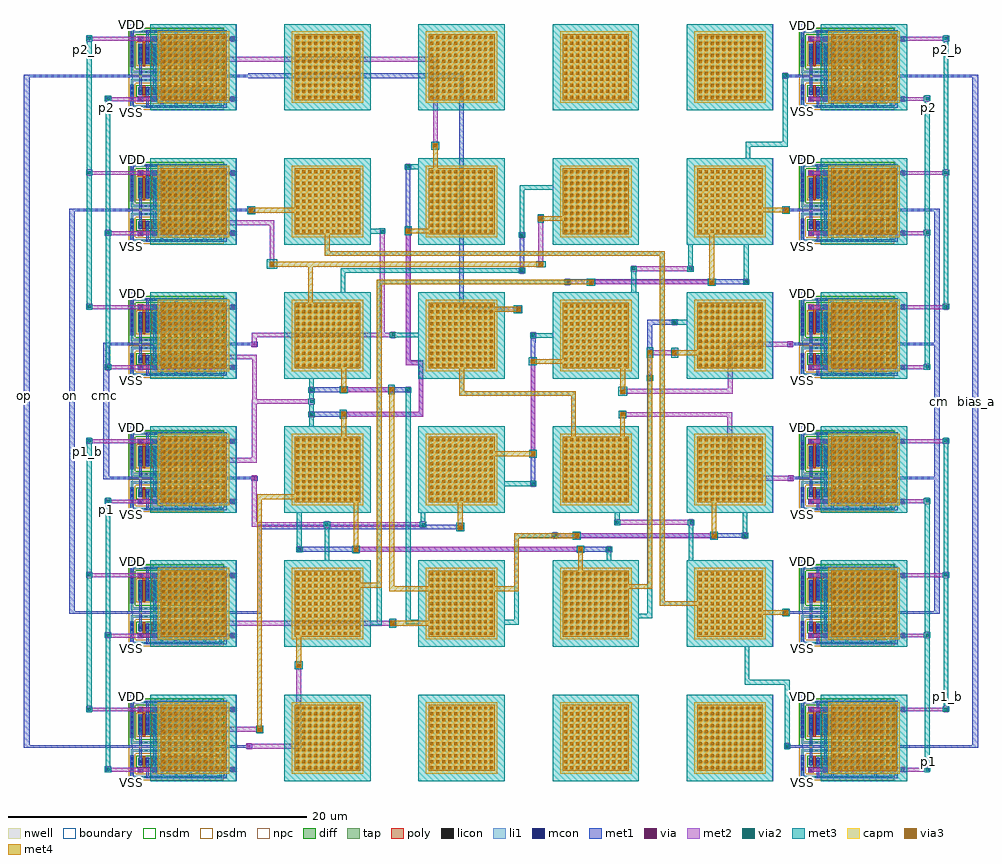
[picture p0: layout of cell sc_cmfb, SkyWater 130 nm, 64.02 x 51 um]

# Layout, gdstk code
from math import pi, radians
import gdstk
lib = gdstk.Library(unit=1e-6, precision=1e-09)
def R(c, l, rs):  # rectangles x0, y0, x1, y1
    for r in rs: c.add(gdstk.rectangle(r[:2], r[2:], *l))
def A(c, l, x, y, w, h, nx, ny, dx, dy):  # array of equal rectangles
    R(c, l, [(x+i*dx, y+j*dy, x+i*dx+w, y+j*dy+h) for i in range(nx) for j in range(ny)])
nwell = (64, 20)
diff = (65, 20)
tap = (65, 44)
poly = (66, 20)
licon = (66, 44)
li1 = (67, 20)
mcon = (67, 44)
met1 = (68, 20)
via = (68, 44)
met2 = (69, 20)
via2 = (69, 44)
met3 = (70, 20)
via3 = (70, 44)
met4 = (71, 20)
capm = (89, 44)
nsdm = (93, 44)
psdm = (94, 20)
npc = (95, 20)
boundary = (235, 4)

sky130_fd_pr__pfet_01v8_ = lib.new_cell('sky130_fd_pr__pfet_01v8_UNG2NQ')
R(sky130_fd_pr__pfet_01v8_, nwell, [(-3.23,-1.78,3.24,1.47)])
R(sky130_fd_pr__pfet_01v8_, diff, [(-2.54,-0.68,2.55,0.68)])
R(sky130_fd_pr__pfet_01v8_, tap, [(-3.05,-1.6,3.06,-1.43), (-3.05,-1.43,-2.88,1.12), (2.89,-1.43,3.06,1.12), (-3.05,1.12,3.06,1.29)])
A(sky130_fd_pr__pfet_01v8_, poly, -2.23, -0.84, 0.15, 1.65, 10, 1, 0.48, 0)
R(sky130_fd_pr__pfet_01v8_, poly, [(-2.56,-1.17,2.57,-0.84)])
A(sky130_fd_pr__pfet_01v8_, licon, -2.46, -1.6, 0.17, 0.17, 15, 2, 0.34, 2.72)
A(sky130_fd_pr__pfet_01v8_, licon, -3.05, -1.09, 0.17, 0.17, 1, 6, 0, 0.34)
A(sky130_fd_pr__pfet_01v8_, licon, -2.48, -1.09, 0.17, 0.17, 6, 1, 0.96, 0)
A(sky130_fd_pr__pfet_01v8_, licon, 2.89, -1.09, 0.17, 0.17, 1, 6, 0, 0.34)
A(sky130_fd_pr__pfet_01v8_, licon, -2.48, -0.595, 0.17, 0.17, 11, 4, 0.48, 0.34)
A(sky130_fd_pr__pfet_01v8_, li1, -2.56, -1.09, 0.33, 0.17, 6, 1, 0.96, 0)
A(sky130_fd_pr__pfet_01v8_, li1, -2.48, -0.7, 0.17, 1.4, 11, 1, 0.48, 0)
R(sky130_fd_pr__pfet_01v8_, li1, [(-3.05,-1.6,3.06,-1.43), (-3.05,-1.43,-2.88,1.12), (2.89,-1.43,3.06,1.12), (-3.05,1.12,3.06,1.29)])
A(sky130_fd_pr__pfet_01v8_, mcon, -2.48, -1.09, 0.17, 0.17, 6, 1, 0.96, 0)
A(sky130_fd_pr__pfet_01v8_, mcon, -2.48, -0.445, 0.17, 0.17, 11, 3, 0.48, 0.36)
A(sky130_fd_pr__pfet_01v8_, met1, -2.56, -1.13, 0.33, 0.25, 6, 1, 0.96, 0)
A(sky130_fd_pr__pfet_01v8_, met1, -2.51, -0.68, 0.23, 1.36, 11, 1, 0.48, 0)
R(sky130_fd_pr__pfet_01v8_, nsdm, [(-3.175,-1.725,3.185,-1.305), (-3.175,-1.305,-2.755,0.995), (2.765,-1.305,3.185,0.995), (-3.175,0.995,3.185,1.415)])
R(sky130_fd_pr__pfet_01v8_, psdm, [(-2.665,-0.805,2.675,0.805)])
A(sky130_fd_pr__pfet_01v8_, npc, -2.58, -1.19, 0.37, 0.37, 6, 1, 0.96, 0)
R(sky130_fd_pr__pfet_01v8_, boundary, [(-2.97,-1.51,2.97,1.51)])

sky130_fd_pr__nfet_01v8_ = lib.new_cell('sky130_fd_pr__nfet_01v8_6J4AMR')
R(sky130_fd_pr__nfet_01v8_, diff, [(-2.54,-0.26,2.55,0.26)])
R(sky130_fd_pr__nfet_01v8_, tap, [(-3.05,-1.13,3.06,-0.96), (-3.05,-0.96,-2.88,0.65), (2.89,-0.96,3.06,0.65), (-3.05,0.65,3.06,0.82)])
A(sky130_fd_pr__nfet_01v8_, poly, -2.23, -0.37, 0.15, 0.76, 10, 1, 0.48, 0)
R(sky130_fd_pr__nfet_01v8_, poly, [(-2.56,-0.7,2.57,-0.37)])
A(sky130_fd_pr__nfet_01v8_, licon, -2.46, -1.13, 0.17, 0.17, 15, 2, 0.34, 1.78)
A(sky130_fd_pr__nfet_01v8_, licon, -2.48, -0.64, 0.17, 0.17, 6, 1, 0.96, 0)
A(sky130_fd_pr__nfet_01v8_, licon, -3.05, -0.58, 0.17, 0.17, 1, 3, 0, 0.34)
A(sky130_fd_pr__nfet_01v8_, licon, 2.89, -0.58, 0.17, 0.17, 1, 3, 0, 0.34)
A(sky130_fd_pr__nfet_01v8_, licon, -2.48, -0.085, 0.17, 0.17, 11, 1, 0.48, 0)
A(sky130_fd_pr__nfet_01v8_, li1, -2.56, -0.64, 0.33, 0.17, 6, 1, 0.96, 0)
A(sky130_fd_pr__nfet_01v8_, li1, -2.48, -0.28, 0.17, 0.56, 11, 1, 0.48, 0)
R(sky130_fd_pr__nfet_01v8_, li1, [(-3.05,-1.13,3.06,-0.96), (-3.05,-0.96,-2.88,0.65), (2.89,-0.96,3.06,0.65), (-3.05,0.65,3.06,0.82)])
A(sky130_fd_pr__nfet_01v8_, mcon, -2.48, -0.64, 0.17, 0.17, 6, 1, 0.96, 0)
A(sky130_fd_pr__nfet_01v8_, mcon, -2.48, -0.085, 0.17, 0.17, 11, 1, 0.48, 0)
A(sky130_fd_pr__nfet_01v8_, met1, -2.56, -0.7, 0.33, 0.3, 6, 1, 0.96, 0)
A(sky130_fd_pr__nfet_01v8_, met1, -2.51, -0.26, 0.23, 0.52, 11, 1, 0.48, 0)
R(sky130_fd_pr__nfet_01v8_, nsdm, [(-2.665,-0.385,2.675,0.385)])
R(sky130_fd_pr__nfet_01v8_, psdm, [(-3.175,-1.255,3.185,-0.835), (-3.175,-0.835,-2.755,0.525), (2.765,-0.835,3.185,0.525), (-3.175,0.525,3.185,0.945)])
A(sky130_fd_pr__nfet_01v8_, npc, -2.58, -0.74, 0.37, 0.37, 6, 1, 0.96, 0)
R(sky130_fd_pr__nfet_01v8_, boundary, [(-2.97,-1.05,2.97,1.05)])

transmission_gate = lib.new_cell('transmission_gate')
R(transmission_gate, li1, [(5.855,0.405,6.025,1.405), (5.855,2.725,6.025,4.655)])
A(transmission_gate, mcon, 5.855, 0.46, 0.17, 0.17, 1, 3, 0, 0.36)
A(transmission_gate, mcon, 5.855, 2.885, 0.17, 0.17, 1, 5, 0, 0.36)
A(transmission_gate, met1, 0.965, 0.095, 0.17, 0.805, 5, 2, 0.96, 4.065)
A(transmission_gate, met1, 1.345, 0.38, 0.36, 0.26, 3, 1, 0.96, 0)
A(transmission_gate, met1, 0.485, 1.265, 0.17, 0.715, 6, 1, 0.96, 0)
A(transmission_gate, met1, 0.485, 2.15, 0.17, 0.89, 6, 1, 0.96, 0)
A(transmission_gate, met1, 2.31, 4.415, 0.36, 0.26, 4, 1, 0.96, 0)
R(transmission_gate, met1, [(5.825,-0.255,6.055,1.465), (-0.435,-0.075,4.975,0.095), (-0.435,0.095,-0.265,1.98), (4.23,0.375,4.59,0.635), (5.19,0.375,5.55,0.635), (-1.08,0.38,-0.635,0.64), (0.39,0.38,0.75,0.64), (-1.08,1.98,-0.265,2.15), (0.485,1.98,6.415,2.15), (-0.435,2.15,-0.265,4.965), (5.825,2.665,6.055,5.315), (-1.08,4.415,-0.635,4.675), (0.39,4.415,0.75,4.675), (1.355,4.415,1.715,4.675), (-0.435,4.965,4.975,5.135)])
A(transmission_gate, via, 1.45, 0.435, 0.15, 0.15, 3, 1, 0.96, 0)
A(transmission_gate, via, 2.415, 4.47, 0.15, 0.15, 4, 1, 0.96, 0)
R(transmission_gate, via, [(4.335,0.43,4.485,0.58), (5.295,0.43,5.445,0.58), (-0.89,0.435,-0.74,0.585), (0.495,0.435,0.645,0.585), (-0.89,4.47,-0.74,4.62), (0.495,4.47,0.645,4.62), (1.46,4.47,1.61,4.62)])
A(transmission_gate, met2, 1.395, 0.33, 0.26, 0.05, 3, 2, 0.96, 0.31)
A(transmission_gate, met2, 2.36, 4.365, 0.26, 0.05, 4, 2, 0.96, 0.31)
R(transmission_gate, met2, [(4.28,0.325,4.54,0.38), (5.24,0.325,5.5,0.38), (-0.945,0.33,-0.685,0.38), (0.44,0.33,0.7,0.38), (-0.945,0.38,5.535,0.64), (-0.945,0.64,-0.685,0.69), (0.44,0.64,0.7,0.69), (4.28,0.64,4.54,0.685), (5.24,0.64,5.5,0.685), (-0.945,4.365,-0.685,4.415), (0.44,4.365,0.7,4.415), (1.405,4.365,1.665,4.415), (-0.945,4.415,5.535,4.675), (-0.945,4.675,-0.685,4.725), (0.44,4.675,0.7,4.725), (1.405,4.675,1.665,4.725)])
transmission_gate.add(gdstk.Reference(sky130_fd_pr__pfet_01v8_, (2.975,3.535), rotation=pi))
transmission_gate.add(gdstk.Reference(sky130_fd_pr__nfet_01v8_, (2.965,1.055)))
transmission_gate.add(gdstk.Label('en_b', (-1.055,4.545), layer=68, texttype=5))
transmission_gate.add(gdstk.Label('in', (-1.06,2.065), layer=68, texttype=5))
transmission_gate.add(gdstk.Label('en', (-1.06,0.51), layer=68, texttype=5))
transmission_gate.add(gdstk.Label('out', (6.395,2.06), layer=68, texttype=5))
transmission_gate.add(gdstk.Label('VDD', (5.94,5.29), layer=68, texttype=5))
transmission_gate.add(gdstk.Label('VSS', (5.94,-0.24), layer=68, texttype=5))

unit_cap_mim_m3m4 = lib.new_cell('unit_cap_mim_m3m4')
R(unit_cap_mim_m3m4, met3, [(-3.15,-2.9,2.64,2.9)])
A(unit_cap_mim_m3m4, via3, -2.35, -2.1, 0.2, 0.2, 11, 11, 0.4, 0.4)
R(unit_cap_mim_m3m4, met4, [(-2.455,-2.205,1.955,2.205)])
R(unit_cap_mim_m3m4, capm, [(-2.65,-2.4,2.15,2.4)])
R(unit_cap_mim_m3m4, boundary, [(-3.15,-2.9,2.65,2.9)])

sc_cmfb = lib.new_cell('sc_cmfb')
A(sc_cmfb, met1, -10.34, -9.2, 0.23, 0.86, 1, 5, 0, 9)
A(sc_cmfb, met1, 34.66, -9.2, 0.23, 0.86, 1, 6, 0, 9)
A(sc_cmfb, met1, -10.34, -4.09, 0.23, 0.89, 1, 5, 0, 9)
A(sc_cmfb, met1, 34.66, -4.09, 0.23, 0.89, 1, 6, 0, 9)
A(sc_cmfb, met1, 43.62, 2.405, 0.375, 8.83, 1, 3, 0, 9)
R(sc_cmfb, met1, [(-5.145,-6.84,-4.725,-6.52), (-2.56,-6.825,-2.14,-6.765), (33.54,-6.815,33.96,-6.765), (-17.47,-6.765,-10.53,-6.595), (-3.6,-6.765,-2.14,-6.595), (33.54,-6.765,34.47,-6.595), (41.355,-6.765,46.55,-6.595), (-17.47,-6.595,-17.095,38.235), (-2.56,-6.595,-2.14,-6.505), (33.54,-6.595,33.96,-6.495), (46.175,-6.595,46.55,38.235), (33.45,2.145,33.87,2.235), (-5.15,2.165,-4.73,2.485), (-1.82,2.23,-1.5,2.235), (-14.43,2.235,-10.53,2.405), (-3.645,2.235,-1.5,2.405), (33.45,2.235,34.475,2.405), (41.385,2.235,43.995,2.405), (-14.43,2.405,-14.055,29.235), (-1.82,2.405,-1.5,7.88), (33.45,2.405,33.87,2.465), (0.8,6.385,22,6.705), (17.96,7.31,31.13,7.63), (-1.82,7.88,12.02,8.2), (16.49,10.795,16.91,11.115), (16.54,11.115,16.855,20.425), (-2.22,11.135,-1.8,11.235), (-5.185,11.155,-4.765,11.475), (33.77,11.165,34.19,11.235), (-12.14,11.235,-10.53,11.405), (-3.595,11.235,-1.8,11.405), (33.77,11.235,34.47,11.405), (41.375,11.235,43.995,11.405), (-12.14,11.405,-11.765,20.235), (-2.22,11.405,-1.8,11.455), (33.77,11.405,34.19,11.485), (1.615,15.45,9.33,15.77), (9.01,15.77,9.33,18.91), (1.615,17.095,8.525,17.415), (24.32,17.89,24.74,18.21), (24.37,18.21,24.69,21.63), (8.14,18.91,9.33,19.23), (8.14,19.23,8.46,32.06), (-2.22,20.15,-1.8,20.235), (-5.17,20.155,-4.75,20.475), (33.745,20.155,34.165,20.235), (-12.14,20.235,-10.5,20.405), (-3.595,20.235,-1.8,20.405), (33.745,20.235,34.47,20.405), (41.355,20.235,43.995,20.405), (-2.22,20.405,-1.8,20.47), (33.745,20.405,34.165,20.475), (16.54,20.425,16.86,20.74), (16.49,20.74,16.91,21.06), (24.37,21.63,26.405,21.95), (11.735,22.495,15.9,22.815), (11.735,22.815,12.055,38.165), (18.79,24.32,19.21,24.34), (18.79,24.34,31.2,24.64), (19.155,24.64,31.2,24.66), (15.735,25.1,16.155,25.42), (15.785,25.42,16.105,27.47), (15.735,27.47,16.155,27.79), (-2.435,29.145,-2.015,29.235), (-5.19,29.155,-4.77,29.475), (33.47,29.155,33.89,29.235), (-14.43,29.235,-10.45,29.405), (-3.695,29.235,-2.015,29.405), (33.47,29.235,34.47,29.405), (41.405,29.235,43.995,29.405), (-2.435,29.405,-2.015,29.465), (33.47,29.405,33.89,29.475), (8.09,32.06,8.51,32.38), (-10.34,35.8,-10.11,36.23), (-5.16,38.155,-4.74,38.475), (-2.425,38.165,12.055,38.235), (33.405,38.165,33.825,38.235), (-17.47,38.235,-10.53,38.405), (-3.615,38.235,12.055,38.405), (33.405,38.235,34.495,38.405), (41.325,38.235,46.55,38.405), (-2.425,38.405,12.055,38.485), (33.405,38.405,33.825,38.485), (-10.34,41.34,-10.11,41.8)])
R(sc_cmfb, via, [(-5.01,-6.755,-4.86,-6.605), (-2.425,-6.74,-2.275,-6.59), (33.675,-6.73,33.825,-6.58), (33.585,2.23,33.735,2.38), (-5.015,2.25,-4.865,2.4), (0.935,6.47,1.085,6.62), (21.715,6.47,21.865,6.62), (18.095,7.395,18.245,7.545), (30.845,7.395,30.995,7.545), (11.735,7.965,11.885,8.115), (16.625,10.88,16.775,11.03), (-2.085,11.22,-1.935,11.37), (-5.05,11.24,-4.9,11.39), (33.905,11.25,34.055,11.4), (1.75,15.535,1.9,15.685), (1.75,17.18,1.9,17.33), (8.24,17.18,8.39,17.33), (24.455,17.975,24.605,18.125), (-2.085,20.235,-1.935,20.385), (-5.035,20.24,-4.885,20.39), (33.88,20.24,34.03,20.39), (16.625,20.825,16.775,20.975), (26.12,21.715,26.27,21.865), (15.615,22.58,15.765,22.73), (18.925,24.405,19.075,24.555), (30.915,24.425,31.065,24.575), (15.87,25.185,16.02,25.335), (15.87,27.555,16.02,27.705), (-2.3,29.23,-2.15,29.38), (-5.055,29.24,-4.905,29.39), (33.605,29.24,33.755,29.39), (8.225,32.145,8.375,32.295), (-5.025,38.24,-4.875,38.39), (33.54,38.25,33.69,38.4)])
A(sc_cmfb, met2, -11.99, -8.42, 0.32, 0.05, 1, 6, 0, 9)
A(sc_cmfb, met2, 42.975, -8.415, 0.32, 0.05, 1, 6, 0, 9)
A(sc_cmfb, met2, -11.99, -8.11, 0.32, 0.11, 1, 6, 0, 9)
A(sc_cmfb, met2, 42.975, -8.105, 0.32, 0.11, 1, 6, 0, 9)
A(sc_cmfb, met2, -13.255, -4.38, 0.32, 0.05, 1, 6, 0, 9)
A(sc_cmfb, met2, 44.24, -4.38, 0.32, 0.05, 1, 6, 0, 9)
A(sc_cmfb, met2, -13.255, -4.07, 0.32, 0.11, 1, 6, 0, 9)
A(sc_cmfb, met2, 44.24, -4.07, 0.32, 0.11, 1, 6, 0, 9)
R(sc_cmfb, met2, [(-11.99,-8.37,-9.565,-8.11), (41.5,-8.365,43.295,-8.105), (-5.095,-6.89,-4.775,-5.69), (-2.51,-6.875,-2.19,-6.825), (33.59,-6.865,33.91,-6.445), (-2.51,-6.825,1.12,-6.505), (-2.51,-6.505,-2.19,-6.455), (0.8,-6.505,1.12,-1.04), (-1.82,-5.74,-1.5,-5.69), (-5.095,-5.69,-1.5,-5.37), (-1.82,-5.37,-1.5,-5.32), (-13.255,-4.33,-9.53,-4.07), (41.395,-4.33,44.56,-4.07), (-11.99,0.63,-9.625,0.89), (41.395,0.635,43.295,0.895), (7.115,1.375,7.435,1.42), (-5.1,1.42,7.435,1.74), (-5.1,1.74,-4.78,2.535), (7.115,1.74,7.435,1.795), (33.5,2.095,33.82,2.515), (-13.255,4.67,-9.58,4.93), (41.46,4.67,44.56,4.93), (0.85,6.335,1.17,6.755), (4.65,6.335,4.97,6.385), (19.715,6.335,20.035,6.385), (21.63,6.335,21.95,6.755), (4.65,6.385,20.035,6.705), (4.65,6.705,4.97,6.755), (19.715,6.705,20.035,6.755), (19.47,7.24,19.79,7.29), (28.68,7.24,29,7.29), (18.01,7.26,18.33,7.68), (30.76,7.26,31.08,7.68), (19.47,7.29,29,7.61), (19.47,7.61,19.79,7.66), (28.68,7.61,29,7.66), (11.65,7.83,11.97,8.25), (2.7,8,3.02,8.05), (9.15,8,9.47,8.05), (-2.17,8.05,9.47,8.37), (22.185,8.15,22.505,8.2), (27.13,8.15,27.45,8.2), (22.185,8.2,27.45,8.52), (-2.17,8.37,-1.85,11.505), (2.7,8.37,3.02,8.42), (9.15,8.37,9.47,8.42), (22.185,8.52,22.505,8.57), (27.13,8.52,27.45,8.57), (-11.99,9.63,-9.605,9.89), (41.46,9.635,43.295,9.895), (16.54,10.745,16.86,11.165), (-5.135,11.105,-4.815,12.36), (33.82,11.115,34.14,11.165), (29.735,11.165,34.14,11.485), (29.735,11.485,30.055,15.435), (33.82,11.485,34.14,11.535), (-5.135,12.36,-1.85,12.68), (-2.17,12.68,-1.85,16.315), (16.53,12.745,16.85,19.36), (-13.255,13.67,-9.68,13.93), (41.385,13.67,44.56,13.93), (22.54,15.385,22.86,15.435), (3.82,15.395,4.14,15.445), (1.665,15.4,1.985,15.82), (22.54,15.435,30.055,15.755), (3.82,15.445,9.33,15.765), (22.54,15.755,22.86,15.805), (3.82,15.765,4.14,15.815), (9.01,15.765,9.33,18.895), (1.665,16.265,1.985,16.315), (-2.17,16.315,2.01,16.535), (-2.165,16.535,2.01,16.635), (-2.165,16.635,-1.845,19.295), (1.665,16.635,1.985,16.685), (22.55,16.94,22.87,16.99), (22.55,16.99,30.08,17.31), (1.665,17.045,1.985,17.465), (3.825,17.045,4.145,17.095), (7.04,17.045,7.36,17.095), (8.155,17.045,8.475,17.465), (3.825,17.095,7.36,17.415), (22.55,17.31,22.87,17.36), (29.76,17.31,30.08,20.155), (3.825,17.415,4.145,17.465), (7.04,17.415,7.36,17.465), (24.37,17.84,24.69,18.26), (-11.99,18.63,-9.59,18.89), (41.455,18.635,43.295,18.895), (8.15,18.895,9.33,19.215), (8.15,19.215,8.47,28.115), (-5.12,19.295,-1.845,19.615), (24.38,19.53,24.7,19.58), (26.03,19.53,26.35,19.58), (24.38,19.58,26.35,19.9), (-5.12,19.615,-4.8,20.525), (24.38,19.9,24.7,19.95), (26.03,19.9,26.35,19.95), (-2.17,20.1,-1.85,20.775), (33.795,20.105,34.115,20.155), (29.76,20.155,34.115,20.475), (33.795,20.475,34.115,20.525), (16.54,20.69,16.86,21.11), (7.14,20.725,7.46,20.775), (-2.17,20.775,7.46,21.095), (6.41,21.095,6.73,28.11), (7.14,21.095,7.46,21.145), (26.035,21.58,26.355,22), (15.53,22.445,15.85,22.865), (-13.255,22.67,-9.575,22.93), (41.395,22.67,44.56,22.93), (18.84,24.27,19.16,24.69), (20.42,24.27,20.74,24.32), (28.53,24.27,28.85,24.32), (30.83,24.29,31.15,24.71), (20.42,24.32,28.85,24.64), (20.42,24.64,20.74,24.69), (28.53,24.64,28.85,24.69), (15.785,25.05,16.105,25.47), (23.29,25.16,23.61,25.21), (27.09,25.16,27.41,25.21), (23.29,25.21,27.41,25.53), (17.05,25.475,17.37,28.955), (-0.985,25.48,-0.665,28.31), (23.29,25.53,23.61,25.58), (27.09,25.53,27.41,25.58), (15.785,27.42,16.105,27.84), (-11.99,27.63,-9.53,27.89), (41.4,27.635,43.295,27.895), (-5.14,28.31,-0.665,28.63), (-5.14,28.63,-4.82,29.525), (-2.385,29.095,-2.065,29.515), (33.52,29.105,33.84,29.525), (-13.255,31.67,-9.535,31.93), (41.4,31.67,44.56,31.93), (8.14,32.01,8.46,32.43), (9.98,33.41,10.3,39.275), (-11.99,36.63,-9.61,36.89), (41.395,36.635,43.295,36.895), (-5.11,38.105,-4.79,39.275), (33.455,38.115,33.775,38.535), (-5.11,39.275,10.3,39.595), (-13.255,40.67,-9.535,40.93), (41.515,40.67,44.56,40.93)])
A(sc_cmfb, via2, -11.93, -8.31, 0.2, 0.2, 1, 6, 0, 9)
A(sc_cmfb, via2, 43.035, -8.305, 0.2, 0.2, 1, 6, 0, 9)
A(sc_cmfb, via2, -13.195, -4.27, 0.2, 0.2, 1, 6, 0, 9)
A(sc_cmfb, via2, 44.3, -4.27, 0.2, 0.2, 1, 6, 0, 9)
R(sc_cmfb, via2, [(33.65,-6.755,33.85,-6.555), (-1.76,-5.63,-1.56,-5.43), (0.86,-1.35,1.06,-1.15), (7.175,1.485,7.375,1.685), (33.56,2.205,33.76,2.405), (0.91,6.445,1.11,6.645), (4.71,6.445,4.91,6.645), (19.775,6.445,19.975,6.645), (21.69,6.445,21.89,6.645), (19.53,7.35,19.73,7.55), (28.74,7.35,28.94,7.55), (18.07,7.37,18.27,7.57), (30.82,7.37,31.02,7.57), (11.71,7.94,11.91,8.14), (2.76,8.11,2.96,8.31), (9.21,8.11,9.41,8.31), (22.245,8.26,22.445,8.46), (27.19,8.26,27.39,8.46), (16.6,10.855,16.8,11.055), (16.59,12.855,16.79,13.055), (22.6,15.495,22.8,15.695), (3.88,15.505,4.08,15.705), (1.725,15.51,1.925,15.71), (1.725,16.375,1.925,16.575), (22.61,17.05,22.81,17.25), (1.725,17.155,1.925,17.355), (3.885,17.155,4.085,17.355), (7.1,17.155,7.3,17.355), (8.215,17.155,8.415,17.355), (24.43,17.95,24.63,18.15), (16.59,19.05,16.79,19.25), (24.44,19.64,24.64,19.84), (26.09,19.64,26.29,19.84), (16.6,20.8,16.8,21), (7.2,20.835,7.4,21.035), (26.095,21.69,26.295,21.89), (15.59,22.555,15.79,22.755), (18.9,24.38,19.1,24.58), (20.48,24.38,20.68,24.58), (28.59,24.38,28.79,24.58), (30.89,24.4,31.09,24.6), (15.845,25.16,16.045,25.36), (23.35,25.27,23.55,25.47), (27.15,25.27,27.35,25.47), (17.11,25.585,17.31,25.785), (-0.925,25.59,-0.725,25.79), (15.845,27.53,16.045,27.73), (6.47,27.8,6.67,28), (8.21,27.805,8.41,28.005), (17.11,28.645,17.31,28.845), (-2.325,29.205,-2.125,29.405), (33.58,29.215,33.78,29.415), (8.2,32.12,8.4,32.32), (10.04,33.52,10.24,33.72), (33.515,38.225,33.715,38.425)])
A(sc_cmfb, met3, -12.04, -8.395, 0.42, 0.37, 1, 6, 0, 9)
A(sc_cmfb, met3, 42.925, -8.39, 0.42, 0.37, 1, 6, 0, 9)
A(sc_cmfb, met3, -13.305, -4.355, 0.42, 0.37, 1, 6, 0, 9)
A(sc_cmfb, met3, 44.19, -4.355, 0.42, 0.37, 1, 6, 0, 9)
R(sc_cmfb, met3, [(-11.99,-8.42,-11.67,-8.395), (42.975,-8.415,43.295,-8.39), (-11.99,-8.025,-11.67,0.605), (42.975,-8.02,43.295,0.61), (33.59,-6.86,33.91,-6.84), (33.54,-6.84,33.96,-6.47), (33.59,-6.47,33.91,-2.53), (-1.89,-5.795,-1.4,-5.28), (-13.255,-4.38,-12.935,-4.355), (-13.255,-3.985,-12.935,4.645), (44.24,-3.985,44.56,4.645), (30.895,-2.53,33.91,-2.21), (30.895,-2.21,31.215,0.58), (0.695,-1.495,1.225,-0.975), (-11.99,0.975,-11.67,9.605), (42.975,0.98,43.295,9.61), (7.025,1.3,7.515,1.9), (4.995,1.45,6.525,1.77), (14.06,1.495,15.735,1.815), (8.155,1.505,9.485,1.825), (6.205,1.77,6.525,24.32), (15.415,1.815,15.735,7.31), (8.155,1.825,8.475,17.07), (23.05,1.92,24.705,2.24), (33.415,2.055,33.925,2.57), (24.37,2.24,24.69,17.865), (25.205,2.76,27.83,3.08), (25.205,3.08,25.525,26.235), (-13.255,5.015,-12.935,13.645), (44.24,5.015,44.56,13.645), (21.63,5.3,21.95,6.36), (27.13,5.395,27.45,8.175), (2.7,5.56,3.02,8.025), (4.55,6.295,5.055,6.785), (19.615,6.31,20.12,6.8), (0.8,6.36,1.22,6.73), (21.58,6.36,22,6.73), (0.85,6.73,1.17,9.73), (28.575,7.175,29.1,7.72), (19.365,7.185,19.89,7.73), (17.96,7.285,18.38,7.31), (30.71,7.285,31.13,7.655), (15.415,7.31,18.38,7.63), (17.96,7.63,18.38,7.655), (30.76,7.655,31.08,9.515), (11.535,7.765,12.075,8.33), (2.65,8.025,3.07,8.395), (9.1,8.025,9.52,8.395), (22.135,8.175,22.555,8.545), (27.08,8.175,27.5,8.545), (9.15,8.395,9.47,9.34), (22.185,8.545,22.505,9.465), (-11.99,9.975,-11.67,10), (42.975,9.98,43.295,10.005), (16.49,10.77,16.91,10.795), (14.435,10.795,16.91,11.115), (16.49,11.115,16.91,11.14), (16.42,12.69,16.95,13.225), (-13.255,14.015,-12.935,14.04), (44.24,14.015,44.56,14.04), (1.665,14.06,1.985,15.425), (19.24,14.095,19.56,16.84), (3.725,15.305,4.185,15.42), (22.43,15.355,22.95,15.855), (3.725,15.42,4.19,15.79), (1.615,15.425,2.035,15.795), (3.725,15.79,4.185,15.915), (1.665,15.795,1.985,16.29), (1.615,16.29,2.035,16.66), (1.665,16.66,1.985,17.07), (11.74,16.84,19.56,17.16), (22.395,16.855,23.02,17.46), (6.985,16.94,7.42,17.585), (3.715,17.02,4.245,17.505), (1.615,17.07,2.035,17.44), (8.105,17.07,8.525,17.44), (11.74,17.16,12.06,18.7), (1.665,17.44,1.985,18.805), (24.32,17.865,24.74,18.235), (42.975,18.585,43.295,18.61), (16.415,18.89,16.945,19.425), (-11.99,18.975,-11.67,27.605), (42.975,18.98,43.295,27.61), (25.965,19.39,26.42,20.09), (24.31,19.395,24.765,20.095), (16.49,20.715,16.91,20.74), (16.49,20.74,18.49,21.06), (7.09,20.75,7.51,20.775), (7.09,20.775,9.21,21.095), (16.49,21.06,16.91,21.085), (7.09,21.095,7.51,21.12), (25.985,21.605,26.405,21.63), (25.985,21.63,27.475,21.95), (25.985,21.95,26.405,21.975), (15.405,22.395,15.95,22.93), (-13.255,22.62,-12.935,22.645), (-13.255,23.015,-12.935,31.645), (44.24,23.015,44.56,31.645), (3.77,23.315,4.09,25.1), (23.29,23.56,23.61,25.185), (28.415,24.245,28.965,24.715), (20.305,24.25,20.855,24.72), (18.79,24.295,19.21,24.32), (30.78,24.315,31.2,24.685), (6.205,24.32,19.21,24.64), (18.79,24.64,19.21,24.665), (30.83,24.685,31.15,27.455), (15.735,25.075,16.155,25.1), (3.77,25.1,16.155,25.42), (23.24,25.185,23.66,25.555), (27.04,25.185,27.46,25.555), (-1.19,25.36,-0.49,26.005), (15.735,25.42,16.155,25.445), (16.895,25.485,17.54,25.885), (27.09,25.555,27.41,27.3), (2.72,26.235,25.525,26.555), (2.72,26.555,3.04,27.755), (15.735,27.445,16.155,27.815), (8.08,27.62,8.54,28.23), (6.36,27.715,6.78,27.74), (5.55,27.74,6.78,28.06), (15.785,27.815,16.105,30.665), (-11.99,27.975,-11.67,36.605), (42.975,27.98,43.295,36.61), (6.36,28.06,6.78,28.085), (17,28.465,17.42,29.05), (-2.485,29.04,-1.955,29.575), (33.43,29.07,33.92,29.57), (15.785,30.665,18.49,30.985), (-13.255,32.015,-12.935,40.645), (44.24,32.015,44.56,40.645), (8.09,32.035,8.51,32.06), (8.09,32.06,9.48,32.38), (8.09,32.38,8.51,32.405), (30.955,32.575,31.275,33.575), (9.875,33.345,10.4,33.9), (30.955,33.575,33.775,33.895), (33.455,33.895,33.775,38.14), (-11.99,36.975,-11.67,37), (42.975,36.98,43.295,37.005), (33.405,38.14,33.825,38.51), (-13.255,41.015,-12.935,41.04), (44.24,41.015,44.56,41.04)])
R(sc_cmfb, via3, [(-1.76,-5.63,-1.56,-5.43), (0.86,-1.35,1.06,-1.15), (7.175,1.485,7.375,1.685), (33.56,2.205,33.76,2.405), (4.71,6.445,4.91,6.645), (19.775,6.445,19.975,6.645), (19.53,7.35,19.73,7.55), (28.74,7.35,28.94,7.55), (11.71,7.94,11.91,8.14), (16.59,12.855,16.79,13.055), (22.6,15.495,22.8,15.695), (3.88,15.505,4.08,15.705), (22.61,17.05,22.81,17.25), (3.885,17.155,4.085,17.355), (7.1,17.155,7.3,17.355), (16.59,19.05,16.79,19.25), (24.44,19.64,24.64,19.84), (26.09,19.64,26.29,19.84), (15.59,22.555,15.79,22.755), (20.48,24.38,20.68,24.58), (28.59,24.38,28.79,24.58), (17.11,25.585,17.31,25.785), (-0.925,25.59,-0.725,25.79), (8.21,27.805,8.41,28.005), (17.11,28.645,17.31,28.845), (-2.325,29.205,-2.125,29.405), (33.58,29.215,33.78,29.415), (10.04,33.52,10.24,33.72)])
R(sc_cmfb, met4, [(-1.825,-5.695,-1.495,-5.365), (-1.82,-5.365,-1.5,9.925), (0.795,-1.415,1.125,-1.085), (0.8,-1.085,1.12,0.895), (7.11,1.42,7.44,1.425), (7.1,1.425,9.765,1.745), (7.11,1.745,7.44,1.75), (33.495,2.14,33.825,2.145), (31.92,2.145,33.83,2.465), (33.495,2.465,33.825,2.47), (25.205,2.76,27.83,3.08), (25.205,3.08,25.525,26.235), (14.06,3.74,15.735,4.06), (7.04,3.745,9.77,4.065), (23.045,3.9,24.7,4.22), (4.99,3.975,6.53,4.295), (15.415,4.06,15.735,7.29), (7.04,4.065,7.36,17.09), (24.38,4.22,24.7,19.575), (6.21,4.295,6.53,24.32), (19.715,5.035,20.035,6.38), (4.645,6.38,4.975,6.71), (19.71,6.38,20.04,6.71), (4.65,6.71,4.97,9.73), (19.715,6.71,20.035,6.725), (19.465,7.285,19.795,7.29), (28.675,7.285,29.005,7.615), (15.415,7.29,19.795,7.61), (19.465,7.61,19.795,7.615), (28.68,7.615,29,9.765), (11.645,7.875,11.975,8.205), (11.65,8.205,11.97,9.805), (-1.82,9.925,1.065,10.245), (16.525,12.79,16.855,12.795), (14.08,12.795,16.855,13.115), (16.525,13.115,16.855,13.12), (22.54,13.94,22.86,15.43), (3.82,14.055,4.14,15.44), (19.24,14.1,19.56,16.84), (22.535,15.43,22.865,15.76), (3.815,15.44,4.145,15.77), (11.74,16.84,19.56,17.16), (22.545,16.985,22.875,17.315), (3.82,17.09,4.15,17.42), (7.035,17.09,7.365,17.42), (11.74,17.16,12.06,18.7), (22.55,17.315,22.87,18.95), (3.825,17.42,4.145,18.805), (16.525,18.985,16.855,18.99), (16.525,18.99,18.73,19.31), (16.525,19.31,16.855,19.315), (24.375,19.575,24.705,19.905), (26.025,19.575,26.355,19.58), (26.025,19.58,27.73,19.9), (26.025,19.9,26.355,19.905), (15.525,22.49,15.855,22.495), (14.04,22.495,15.855,22.815), (15.525,22.815,15.855,22.82), (1.6,23.06,1.92,25.525), (20.415,24.315,20.745,24.32), (28.525,24.315,28.855,24.645), (6.21,24.32,20.75,24.64), (20.415,24.64,20.745,24.645), (28.53,24.645,28.85,27.76), (17.045,25.52,17.375,25.525), (-0.99,25.525,17.375,25.845), (-0.99,25.845,-0.66,25.855), (17.045,25.845,17.375,25.85), (2.72,26.235,25.525,26.555), (2.72,26.555,3.04,27.755), (8.145,27.74,8.475,27.745), (8.145,27.745,9.745,28.065), (8.145,28.065,8.475,28.07), (17.045,28.58,17.375,28.585), (17.045,28.585,18.72,28.905), (17.045,28.905,17.375,28.91), (-2.39,29.14,-2.06,29.145), (-2.39,29.145,0.775,29.465), (33.515,29.15,33.845,29.155), (31.61,29.155,33.845,29.475), (-2.39,29.465,-2.06,29.47), (33.515,29.475,33.845,29.48), (9.98,31.885,10.3,33.455), (9.975,33.455,10.305,33.785)])
sc_cmfb.add(gdstk.Reference(transmission_gate, (-4.285,-8.745), rotation=pi, x_reflection=True))
sc_cmfb.add(gdstk.Reference(unit_cap_mim_m3m4, (-5.85,-6.1)))
sc_cmfb.add(gdstk.Reference(unit_cap_mim_m3m4, (3.15,-6.1)))
sc_cmfb.add(gdstk.Reference(unit_cap_mim_m3m4, (12.15,-6.1)))
sc_cmfb.add(gdstk.Reference(unit_cap_mim_m3m4, (21.15,-6.1)))
sc_cmfb.add(gdstk.Reference(unit_cap_mim_m3m4, (30.15,-6.1)))
sc_cmfb.add(gdstk.Reference(transmission_gate, (40.715,-8.745), rotation=pi, x_reflection=True))
sc_cmfb.add(gdstk.Reference(unit_cap_mim_m3m4, (39.15,-6.1)))
sc_cmfb.add(gdstk.Reference(transmission_gate, (-4.285,0.255), rotation=pi, x_reflection=True))
sc_cmfb.add(gdstk.Reference(unit_cap_mim_m3m4, (-5.85,2.9)))
sc_cmfb.add(gdstk.Reference(unit_cap_mim_m3m4, (3.15,2.9)))
sc_cmfb.add(gdstk.Reference(unit_cap_mim_m3m4, (12.15,2.9)))
sc_cmfb.add(gdstk.Reference(unit_cap_mim_m3m4, (21.15,2.9)))
sc_cmfb.add(gdstk.Reference(unit_cap_mim_m3m4, (30.15,2.9)))
sc_cmfb.add(gdstk.Reference(transmission_gate, (40.715,0.255), rotation=pi, x_reflection=True))
sc_cmfb.add(gdstk.Reference(unit_cap_mim_m3m4, (39.15,2.9)))
sc_cmfb.add(gdstk.Reference(transmission_gate, (-4.285,9.255), rotation=pi, x_reflection=True))
sc_cmfb.add(gdstk.Reference(unit_cap_mim_m3m4, (-5.85,11.9)))
sc_cmfb.add(gdstk.Reference(unit_cap_mim_m3m4, (3.15,11.9)))
sc_cmfb.add(gdstk.Reference(unit_cap_mim_m3m4, (12.15,11.9)))
sc_cmfb.add(gdstk.Reference(unit_cap_mim_m3m4, (21.15,11.9)))
sc_cmfb.add(gdstk.Reference(unit_cap_mim_m3m4, (30.15,11.9)))
sc_cmfb.add(gdstk.Reference(transmission_gate, (40.715,9.255), rotation=pi, x_reflection=True))
sc_cmfb.add(gdstk.Reference(unit_cap_mim_m3m4, (39.15,11.9)))
sc_cmfb.add(gdstk.Reference(transmission_gate, (-4.285,18.255), rotation=pi, x_reflection=True))
sc_cmfb.add(gdstk.Reference(unit_cap_mim_m3m4, (-5.85,20.9)))
sc_cmfb.add(gdstk.Reference(unit_cap_mim_m3m4, (3.15,20.9)))
sc_cmfb.add(gdstk.Reference(unit_cap_mim_m3m4, (12.15,20.9)))
sc_cmfb.add(gdstk.Reference(unit_cap_mim_m3m4, (21.15,20.9)))
sc_cmfb.add(gdstk.Reference(unit_cap_mim_m3m4, (30.15,20.9)))
sc_cmfb.add(gdstk.Reference(transmission_gate, (40.715,18.255), rotation=pi, x_reflection=True))
sc_cmfb.add(gdstk.Reference(unit_cap_mim_m3m4, (39.15,20.9)))
sc_cmfb.add(gdstk.Reference(transmission_gate, (-4.285,27.255), rotation=pi, x_reflection=True))
sc_cmfb.add(gdstk.Reference(unit_cap_mim_m3m4, (-5.85,29.9)))
sc_cmfb.add(gdstk.Reference(unit_cap_mim_m3m4, (3.15,29.9)))
sc_cmfb.add(gdstk.Reference(unit_cap_mim_m3m4, (12.15,29.9)))
sc_cmfb.add(gdstk.Reference(unit_cap_mim_m3m4, (21.15,29.9)))
sc_cmfb.add(gdstk.Reference(unit_cap_mim_m3m4, (30.15,29.9)))
sc_cmfb.add(gdstk.Reference(transmission_gate, (40.715,27.255), rotation=pi, x_reflection=True))
sc_cmfb.add(gdstk.Reference(unit_cap_mim_m3m4, (39.15,29.9)))
sc_cmfb.add(gdstk.Reference(transmission_gate, (-4.285,36.255), rotation=pi, x_reflection=True))
sc_cmfb.add(gdstk.Reference(unit_cap_mim_m3m4, (-5.85,38.9)))
sc_cmfb.add(gdstk.Reference(unit_cap_mim_m3m4, (3.15,38.9)))
sc_cmfb.add(gdstk.Reference(unit_cap_mim_m3m4, (12.15,38.9)))
sc_cmfb.add(gdstk.Reference(unit_cap_mim_m3m4, (21.15,38.9)))
sc_cmfb.add(gdstk.Reference(unit_cap_mim_m3m4, (30.15,38.9)))
sc_cmfb.add(gdstk.Reference(transmission_gate, (40.715,36.255), rotation=pi, x_reflection=True))
sc_cmfb.add(gdstk.Reference(unit_cap_mim_m3m4, (39.15,38.9)))
sc_cmfb.add(gdstk.Label('on', (-14.36,16.84), layer=68, texttype=16))
sc_cmfb.add(gdstk.Label('cm', (43.95,16.475), layer=68, texttype=16))
sc_cmfb.add(gdstk.Label('bias_a', (46.46,16.49), layer=68, texttype=16))
sc_cmfb.add(gdstk.Label('op', (-17.42,16.845), layer=68, texttype=16))
sc_cmfb.add(gdstk.Label('cmc', (-12.06,16.855), layer=68, texttype=16))
sc_cmfb.add(gdstk.Label('p2_b', (-13.21,40.095), layer=70, texttype=16))
sc_cmfb.add(gdstk.Label('p2_b', (44.52,40.08), layer=70, texttype=16))
sc_cmfb.add(gdstk.Label('p2', (-11.945,36.18), layer=70, texttype=16))
sc_cmfb.add(gdstk.Label('p2', (43.24,36.23), layer=70, texttype=16))
sc_cmfb.add(gdstk.Label('p1_b', (-13.195,13.13), layer=70, texttype=16))
sc_cmfb.add(gdstk.Label('p1_b', (44.49,-3.35), layer=70, texttype=16))
sc_cmfb.add(gdstk.Label('p1', (-11.945,9.2), layer=70, texttype=16))
sc_cmfb.add(gdstk.Label('p1', (43.225,-7.685), layer=70, texttype=16))
sc_cmfb.add(gdstk.Label('VDD', (-10.23,41.75), layer=68, texttype=16))
sc_cmfb.add(gdstk.Label('VDD', (-10.215,32.715), layer=68, texttype=16))
sc_cmfb.add(gdstk.Label('VDD', (-10.215,23.715), layer=68, texttype=16))
sc_cmfb.add(gdstk.Label('VDD', (-10.235,14.71), layer=68, texttype=16))
sc_cmfb.add(gdstk.Label('VDD', (-10.215,5.73), layer=68, texttype=16))
sc_cmfb.add(gdstk.Label('VDD', (-10.225,-3.295), layer=68, texttype=16))
sc_cmfb.add(gdstk.Label('VDD', (34.77,-3.295), layer=68, texttype=16))
sc_cmfb.add(gdstk.Label('VDD', (34.76,5.705), layer=68, texttype=16))
sc_cmfb.add(gdstk.Label('VDD', (34.77,14.72), layer=68, texttype=16))
sc_cmfb.add(gdstk.Label('VDD', (34.785,23.7), layer=68, texttype=16))
sc_cmfb.add(gdstk.Label('VDD', (34.76,32.735), layer=68, texttype=16))
sc_cmfb.add(gdstk.Label('VDD', (34.77,41.725), layer=68, texttype=16))
sc_cmfb.add(gdstk.Label('VSS', (-10.225,35.89), layer=68, texttype=16))
sc_cmfb.add(gdstk.Label('VSS', (-10.225,26.85), layer=68, texttype=16))
sc_cmfb.add(gdstk.Label('VSS', (-10.235,17.87), layer=68, texttype=16))
sc_cmfb.add(gdstk.Label('VSS', (-10.225,8.88), layer=68, texttype=16))
sc_cmfb.add(gdstk.Label('VSS', (-10.235,-0.135), layer=68, texttype=16))
sc_cmfb.add(gdstk.Label('VSS', (-10.225,-9.11), layer=68, texttype=16))
sc_cmfb.add(gdstk.Label('VSS', (34.785,-9.11), layer=68, texttype=16))
sc_cmfb.add(gdstk.Label('VSS', (34.785,-0.13), layer=68, texttype=16))
sc_cmfb.add(gdstk.Label('VSS', (34.76,8.88), layer=68, texttype=16))
sc_cmfb.add(gdstk.Label('VSS', (34.77,17.895), layer=68, texttype=16))
sc_cmfb.add(gdstk.Label('VSS', (34.77,26.875), layer=68, texttype=16))
sc_cmfb.add(gdstk.Label('VSS', (34.77,35.9), layer=68, texttype=16))

lib.write_gds('sc_cmfb.gds')
